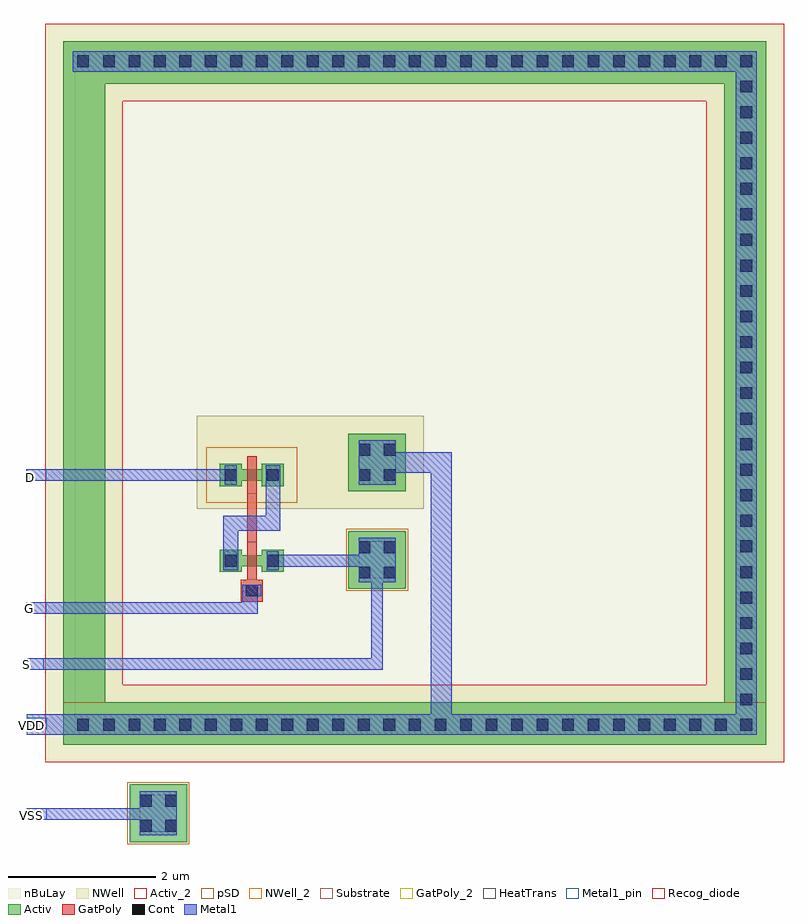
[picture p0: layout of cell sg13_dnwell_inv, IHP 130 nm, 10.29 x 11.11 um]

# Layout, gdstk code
from math import pi, radians
import gdstk
lib = gdstk.Library(unit=1e-6, precision=1e-09)
def R(c, l, rs):  # rectangles x0, y0, x1, y1
    for r in rs: c.add(gdstk.rectangle(r[:2], r[2:], *l))
def A(c, l, x, y, w, h, nx, ny, dx, dy):  # array of equal rectangles
    R(c, l, [(x+i*dx, y+j*dy, x+i*dx+w, y+j*dy+h) for i in range(nx) for j in range(ny)])
def P(c, l, *ps):  # polygons
    for p in ps: c.add(gdstk.Polygon(p, *l))
Activ = (1, 0)
Activ_2 = (1, 2)
GatPoly = (5, 0)
GatPoly_2 = (5, 2)
Cont = (6, 0)
Metal1 = (8, 0)
Metal1_pin = (8, 2)
pSD = (14, 0)
NWell = (31, 0)
NWell_2 = (31, 2)
nBuLay = (32, 0)
Substrate = (40, 0)
HeatTrans = (51, 0)
Recog_diode = (99, 31)

nmos = lib.new_cell('nmos')
R(nmos, Activ, [(0,0,0.3,0.3), (0.57,0,0.87,0.3), (0,0.075,0.87,0.225)])
R(nmos, GatPoly, [(0.37,-0.105,0.5,0.405)])
R(nmos, GatPoly_2, [(0.37,-0.105,0.5,0.405)])
R(nmos, Cont, [(0.07,0.07,0.23,0.23), (0.64,0.07,0.8,0.23)])
R(nmos, Metal1, [(0.07,0.02,0.23,0.28), (0.64,0.02,0.8,0.28)])
R(nmos, Metal1_pin, [(0.07,0.02,0.23,0.28), (0.64,0.02,0.8,0.28)])
R(nmos, HeatTrans, [(0.37,-0.105,0.5,0.405)])
nmos.add(gdstk.Label('nmos', (0.435,0.15), layer=63, texttype=0))
nmos.add(gdstk.Label('nmos', (0.435,0.15), layer=51, texttype=0))

ptap1 = lib.new_cell('ptap1')
R(ptap1, Activ, [(0,0,0.78,0.78)])
R(ptap1, Cont, [(0.14,0.14,0.3,0.3), (0.48,0.14,0.64,0.3), (0.14,0.48,0.3,0.64), (0.48,0.48,0.64,0.64)])
R(ptap1, Metal1, [(0.14,0.09,0.64,0.69), (0.14,0.14,0.64,0.64)])
R(ptap1, Metal1_pin, [(0.14,0.14,0.64,0.64)])
R(ptap1, pSD, [(-0.03,-0.03,0.81,0.81)])
R(ptap1, Substrate, [(0,0,0.78,0.78)])
ptap1.add(gdstk.Label('sub!', (0.39,0.01), layer=63, texttype=0))
ptap1.add(gdstk.Label('sub!', (0.39,0.01), layer=40, texttype=0))

pmos = lib.new_cell('pmos')
R(pmos, Activ, [(0,0,0.3,0.3), (0.57,0,0.87,0.3), (0,0.075,0.87,0.225)])
R(pmos, GatPoly, [(0.37,-0.105,0.5,0.405), (0.37,-0.105,0.5,0.405)])
R(pmos, Cont, [(0.07,0.07,0.23,0.23), (0.64,0.07,0.8,0.23)])
R(pmos, Metal1, [(0.07,0.02,0.23,0.28), (0.07,0.02,0.23,0.28), (0.64,0.02,0.8,0.28), (0.64,0.02,0.8,0.28)])
R(pmos, pSD, [(-0.18,-0.225,1.05,0.525)])
R(pmos, NWell, [(-0.31,-0.31,1.18,0.61)])
R(pmos, Substrate, [(0.57,0,0.87,0.3)])
R(pmos, HeatTrans, [(0.37,-0.105,0.5,0.405)])
pmos.add(gdstk.Label('pmos', (0.435,0.15), layer=63, texttype=0))
pmos.add(gdstk.Label('pmos', (0.435,0.15), layer=51, texttype=0))

ntap1 = lib.new_cell('ntap1')
R(ntap1, Activ, [(0,0,0.78,0.78)])
R(ntap1, Cont, [(0.14,0.14,0.3,0.3), (0.48,0.14,0.64,0.3), (0.14,0.48,0.3,0.64), (0.48,0.48,0.64,0.64)])
R(ntap1, Metal1, [(0.14,0.09,0.64,0.69)])
R(ntap1, Metal1_pin, [(0.14,0.09,0.64,0.69), (0.14,0.14,0.64,0.64)])
R(ntap1, NWell, [(-0.24,-0.24,1.02,1.02), (0,0,0.78,0.78)])
R(ntap1, NWell_2, [(0,0,0.78,0.78)])
R(ntap1, nBuLay, [(-0.24,-0.24,1.02,1.02)])
ntap1.add(gdstk.Label('well', (0.39,0.01), layer=31, texttype=0))
ntap1.add(gdstk.Label('well', (0.39,0.01), layer=63, texttype=0))

via_stack = lib.new_cell('via_stack')
R(via_stack, GatPoly, [(-0.15,-0.15,0.15,0.15)])
R(via_stack, Cont, [(-0.08,-0.08,0.08,0.08)])
R(via_stack, Metal1, [(-0.13,-0.08,0.13,0.08)])

isolbox = lib.new_cell('isolbox')
P(isolbox, Activ, [(-0.81,-0.81),(-0.81,-0.24),(8.14,-0.24),(8.14,8.14),(-0.24,8.14),(-0.24,-0.24),(-0.81,-0.24),(-0.81,8.71),(8.71,8.71),(8.71,-0.81)])
R(isolbox, Activ_2, [(-0.81,-0.81,-0.24,8.71)])
A(isolbox, Cont, -0.62, -0.62, 0.16, 0.16, 1, 13, 0, 0.345)
A(isolbox, Cont, -0.28, -0.62, 0.16, 0.16, 6, 1, 0.345, 0)
A(isolbox, Cont, 1.795, -0.62, 0.16, 0.16, 6, 1, 0.345, 0)
A(isolbox, Cont, 3.87, -0.62, 0.16, 0.16, 6, 1, 0.345, 0)
A(isolbox, Cont, 5.945, -0.62, 0.16, 0.16, 6, 1, 0.345, 0)
A(isolbox, Cont, 8.36, -0.62, 0.16, 0.16, 1, 13, 0, 0.345)
A(isolbox, Cont, -0.62, 3.87, 0.16, 0.16, 1, 13, 0, 0.345)
A(isolbox, Cont, 8.36, 3.87, 0.16, 0.16, 1, 13, 0, 0.345)
R(isolbox, Cont, [(8.02,-0.62,8.18,-0.46), (-0.62,8.36,-0.46,8.52), (8.36,8.36,8.52,8.52)])
R(isolbox, Metal1, [(-0.68,-0.68,-0.4,8.58), (-0.4,-0.68,8.3,-0.4), (8.3,-0.68,8.58,8.58)])
P(isolbox, NWell, [(-1.05,-1.05),(-1.05,0),(7.9,0),(7.9,7.9),(0,7.9),(0,0),(-1.05,0),(-1.05,8.95),(8.95,8.95),(8.95,-1.05)])
R(isolbox, nBuLay, [(-0.65,-0.65,8.55,8.55)])
P(isolbox, Recog_diode, [(-1.05,-1.05),(-1.05,0),(7.9,0),(7.9,7.9),(0,7.9),(0,0),(-1.05,0),(-1.05,8.95),(8.95,8.95),(8.95,-1.05)])
isolbox.add(gdstk.Label('isolbox', (0,-0.525), layer=63, texttype=0))

sg13_dnwell_inv = lib.new_cell('sg13_dnwell_inv')
R(sg13_dnwell_inv, GatPoly, [(4.18,2.205,4.31,2.855)])
R(sg13_dnwell_inv, Metal1, [(4.115,1.39,4.165,1.465)])
R(sg13_dnwell_inv, Metal1_pin, [(1.2,-1.56,1.47,-1.4), (1.2,-0.335,1.47,-0.175), (1.16,0.47,1.43,0.63), (1.19,1.23,1.46,1.39), (1.19,3.03,1.46,3.19)])
R(sg13_dnwell_inv, NWell, [(3.5,2.65,6.57,3.91)])
sg13_dnwell_inv.add(gdstk.FlexPath([(6.19,3.28),(6.81,3.28),(6.81,-0.13)], 0.28, ends="flush", simple_path=True, layer=8, datatype=0))  # Metal1
sg13_dnwell_inv.add(gdstk.FlexPath([(1.82,-0.27),(1.2,-0.27)], 0.28, ends="flush", simple_path=True, layer=8, datatype=0))  # Metal1
sg13_dnwell_inv.add(gdstk.FlexPath([(3.96,1.82),(3.96,2.455),(4.53,2.455),(4.53,3.24)], 0.2, ends="flush", simple_path=True, layer=8, datatype=0))  # Metal1
sg13_dnwell_inv.add(gdstk.FlexPath([(4.04,3.11),(1.19,3.11)], 0.16, ends="flush", simple_path=True, layer=8, datatype=0))  # Metal1
sg13_dnwell_inv.add(gdstk.FlexPath([(4.51,1.95),(6.01,1.95)], 0.16, ends="flush", simple_path=True, layer=8, datatype=0))  # Metal1
sg13_dnwell_inv.add(gdstk.FlexPath([(4.245,1.625),(4.245,1.31),(1.19,1.31)], 0.16, ends="flush", simple_path=True, layer=8, datatype=0))  # Metal1
sg13_dnwell_inv.add(gdstk.FlexPath([(5.94,1.96),(5.94,0.55),(1.16,0.55)], 0.16, ends="flush", simple_path=True, layer=8, datatype=0))  # Metal1
sg13_dnwell_inv.add(gdstk.FlexPath([(2.98,-1.48),(1.2,-1.48)], 0.16, ends="flush", simple_path=True, layer=8, datatype=0))  # Metal1
sg13_dnwell_inv.add(gdstk.Reference(nmos, (3.81,1.8)))
sg13_dnwell_inv.add(gdstk.Reference(ptap1, (5.55,1.57)))
sg13_dnwell_inv.add(gdstk.Reference(ptap1, (2.59,-1.86)))
sg13_dnwell_inv.add(gdstk.Reference(pmos, (3.81,2.96)))
sg13_dnwell_inv.add(gdstk.Reference(ntap1, (5.55,2.89)))
sg13_dnwell_inv.add(gdstk.Reference(via_stack, (4.245,1.545)))
sg13_dnwell_inv.add(gdstk.Reference(isolbox, (10.4,0.27), rotation=pi/2))
sg13_dnwell_inv.add(gdstk.Label('D', (1.25,3.08), layer=8, texttype=25))
sg13_dnwell_inv.add(gdstk.Label('VDD', (1.26,-0.275), layer=8, texttype=25))
sg13_dnwell_inv.add(gdstk.Label('VSS', (1.26,-1.5), layer=8, texttype=25))
sg13_dnwell_inv.add(gdstk.Label('S', (1.2,0.55), layer=8, texttype=25))
sg13_dnwell_inv.add(gdstk.Label('G', (1.24,1.3), layer=8, texttype=25))

lib.write_gds('sg13_dnwell_inv.gds')
